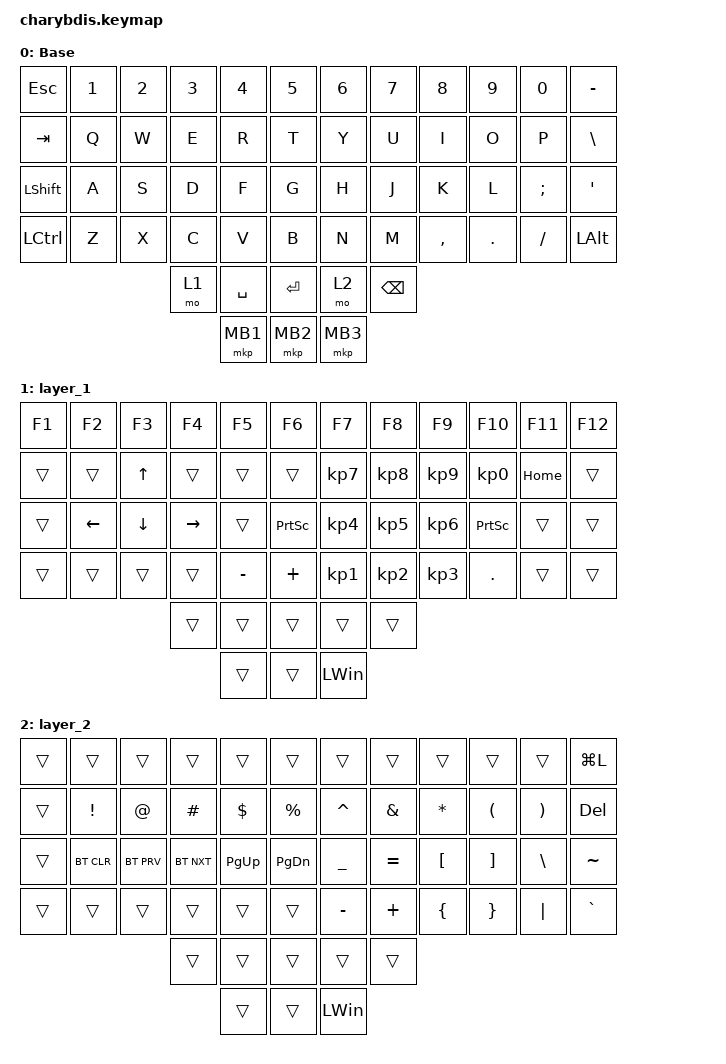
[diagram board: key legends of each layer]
#include <dt-bindings/zmk/mouse.h>
#include <behaviors.dtsi>
#include <dt-bindings/zmk/bt.h>
#include <dt-bindings/zmk/keys.h>

&lt {
    tapping-term-ms = <200>;
    flavor = "balanced";
    quick-tap-ms = <150>;
};

/ {
    combos {
        compatible = "zmk,combos";

        escc {
            bindings = <&kp ESC>;
            key-positions = <17 18>;
            layers = <1>;
        };
    };

    keymap {
        compatible = "zmk,keymap";

        Base {
            bindings = <
&kp ESC           &kp N1  &kp N2  &kp N3  &kp N4     &kp N5       &kp N6    &kp N7         &kp N8     &kp N9   &kp N0     &kp MINUS
&kp TAB           &kp Q   &kp W   &kp E   &kp R      &kp T        &kp Y     &kp U          &kp I      &kp O    &kp P      &kp BACKSLASH
&kp LEFT_SHIFT    &kp A   &kp S   &kp D   &kp F      &kp G        &kp H     &kp J          &kp K      &kp L    &kp SEMI   &kp APOS
&kp LEFT_CONTROL  &kp Z   &kp X   &kp C   &kp V      &kp B        &kp N     &kp M          &kp COMMA  &kp DOT  &kp SLASH  &kp LEFT_ALT
                                  &mo 1   &kp SPACE  &kp ENTER    &mo 2     &kp BACKSPACE
                                          &mkp MB1   &mkp MB2     &mkp MB3
            >;
        };

        layer_1 {
            bindings = <
&kp F1  &kp F2          &kp F3          &kp F4     &kp F5     &kp F6             &kp F7           &kp F8           &kp F9           &kp F10          &kp F11   &kp F12
&trans  &trans          &kp UP_ARROW    &trans     &trans     &trans             &kp KP_NUMBER_7  &kp KP_NUMBER_8  &kp KP_NUMBER_9  &kp KP_NUMBER_0  &kp HOME  &trans
&trans  &kp LEFT_ARROW  &kp DOWN_ARROW  &kp RIGHT  &trans     &kp PRINTSCREEN    &kp KP_NUMBER_4  &kp KP_NUMBER_5  &kp KP_NUMBER_6  &kp PRINTSCREEN  &trans    &trans
&trans  &trans          &trans          &trans     &kp MINUS  &kp PLUS           &kp KP_NUMBER_1  &kp KP_NUMBER_2  &kp KP_NUMBER_3  &kp PERIOD       &trans    &trans
                                        &trans     &trans     &trans             &trans           &trans
                                                   &trans     &trans             &kp LEFT_WIN
            >;
        };

        layer_2 {
            bindings = <
&trans  &trans      &trans      &trans      &trans       &trans           &trans        &trans         &trans          &trans                &trans                 &kp LG(L)
&trans  &kp EXCL    &kp AT      &kp HASH    &kp DOLLAR   &kp PERCENT      &kp CARET     &kp AMPERSAND  &kp ASTRK       &kp LEFT_PARENTHESIS  &kp RIGHT_PARENTHESIS  &kp DELETE
&trans  &bt BT_CLR  &bt BT_PRV  &bt BT_NXT  &kp PAGE_UP  &kp PAGE_DOWN    &kp UNDER     &kp EQUAL      &kp LBKT        &kp RBKT              &kp BACKSLASH          &kp TILDE
&trans  &trans      &trans      &trans      &trans       &trans           &kp MINUS     &kp PLUS       &kp LEFT_BRACE  &kp RIGHT_BRACE       &kp PIPE               &kp GRAVE
                                &trans      &trans       &trans           &trans        &trans
                                            &trans       &trans           &kp LEFT_WIN
            >;
        };
    };
};
